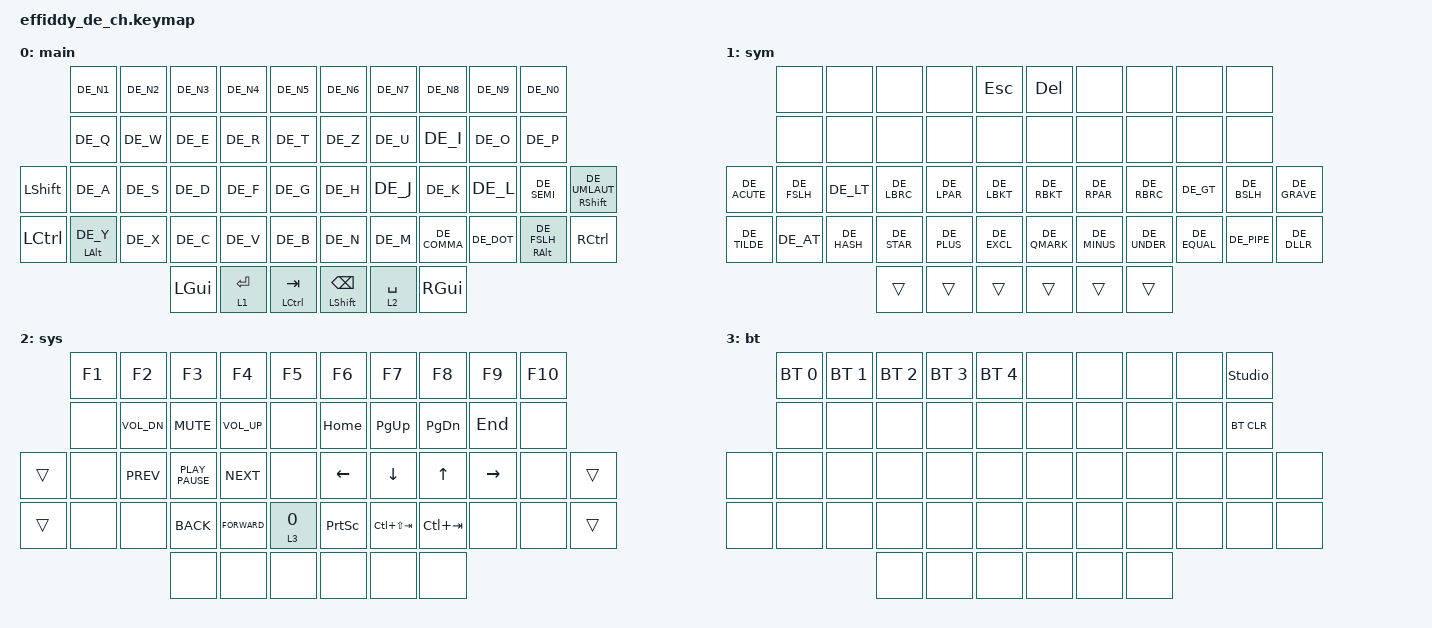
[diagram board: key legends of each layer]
#include <behaviors.dtsi>
#include <dt-bindings/zmk/keys.h>
#include <dt-bindings/zmk/bt.h>
#include "keys_de_swiss.h"

&lt { tapping-term-ms = <150>; };
&mt { tapping-term-ms = <150>; };

/ {
    behaviors {
        mttp: mttp { // Mod tap, tap-preferred
            compatible = "zmk,behavior-hold-tap";
            label = "MTTP";
            flavor = "tap-preferred";
            tapping-term-ms = <150>;
            bindings = <&kp>, <&kp>;
            #binding-cells = <2>;
            display-name = "Mod-Tap (Tap pref)";
        };
    };

    keymap {
        compatible = "zmk,keymap";

        main {
            bindings = <
             &kp DE_N1      &kp DE_N2  &kp DE_N3  &kp DE_N4  &kp DE_N5             &kp DE_N6         &kp DE_N7    &kp DE_N8     &kp DE_N9   &kp DE_N0
             &kp DE_Q       &kp DE_W   &kp DE_E   &kp DE_R   &kp DE_T              &kp DE_Z          &kp DE_U     &kp DE_I      &kp DE_O    &kp DE_P
&kp LSHIFT   &kp DE_A       &kp DE_S   &kp DE_D   &kp DE_F   &kp DE_G              &kp DE_H          &kp DE_J     &kp DE_K      &kp DE_L    &kp DE_SEMI         &mttp RSHIFT DE_UMLAUT
&kp LCTRL    &mt LALT DE_Y  &kp DE_X   &kp DE_C   &kp DE_V   &kp DE_B              &kp DE_N          &kp DE_M     &kp DE_COMMA  &kp DE_DOT  &mt RALT DE_FSLH    &kp RCTRL
                                       &kp LGUI   &lt 1 RET  &mt LCTRL TAB         &mttp LSHFT BSPC  &lt 2 SPACE  &kp RGUI
            >;
        };

        sym {
            bindings = <
              &none        &none        &none        &none        &kp ESC           &kp DEL       &none         &none         &none         &none
              &none        &none        &none        &none        &none             &none         &none         &none         &none         &none
&kp DE_ACUTE  &kp DE_FSLH  &kp DE_LT    &kp DE_LBRC  &kp DE_LPAR  &kp DE_LBKT       &kp DE_RBKT   &kp DE_RPAR   &kp DE_RBRC   &kp DE_GT     &kp DE_BSLH  &kp DE_GRAVE
&kp DE_TILDE  &kp DE_AT    &kp DE_HASH  &kp DE_STAR  &kp DE_PLUS  &kp DE_EXCL       &kp DE_QMARK  &kp DE_MINUS  &kp DE_UNDER  &kp DE_EQUAL  &kp DE_PIPE  &kp DE_DLLR
                                        &trans       &trans       &trans            &trans        &trans        &trans
            >;
        };

        sys {
            bindings = <
        &kp F1  &kp F2        &kp F3            &kp F4           &kp F5       &kp F6           &kp F7           &kp F8       &kp F9     &kp F10
        &none   &kp C_VOL_DN  &kp K_MUTE        &kp C_VOLUME_UP  &none        &kp HOME         &kp PG_UP        &kp PG_DN    &kp END    &none
&trans  &none   &kp K_PREV    &kp K_PLAY_PAUSE  &kp K_NEXT       &none        &kp LEFT         &kp DOWN         &kp UP       &kp RIGHT  &none    &trans
&trans  &none   &none         &kp K_BACK        &kp K_FORWARD    &lt 3 0      &kp PRINTSCREEN  &kp LC(LS(TAB))  &kp LC(TAB)  &none      &none    &trans
                              &none             &none            &none        &none            &none            &none
            >;
        };

        bt {
            bindings = <
            &bt BT_SEL 0  &bt BT_SEL 1  &bt BT_SEL 2  &bt BT_SEL 3  &bt BT_SEL 4       &none  &none  &none  &none  &studio_unlock
            &none         &none         &none         &none         &none              &none  &none  &none  &none  &bt BT_CLR
&none       &none         &none         &none         &none         &none              &none  &none  &none  &none  &none           &none
&none       &none         &none         &none         &none         &none              &none  &none  &none  &none  &none           &none
                                        &none         &none         &none              &none  &none  &none
            >;
        };


        extra1 { status = "reserved"; };

        extra2 { status = "reserved"; };
    };
};
